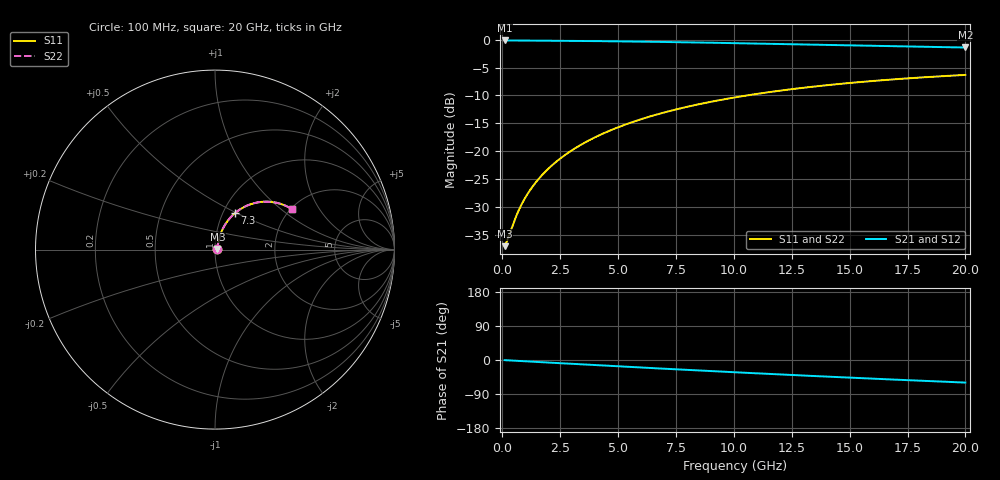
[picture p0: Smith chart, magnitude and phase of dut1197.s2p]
! Touchstone file exported from HFSS 2026.1.0
!  File:  C:/ffzhzh/LocalFiles/Ansys_Project_Files/temp_train_TMRDL_1197_1783162916_18472.aedt
!  Generated:  07:03:20 PM Jul  4, 2026
!  Design:  TMRDL
!  Project:  temp_train_TMRDL_1197_1783162916_18472
! Variables:
!  h_bsmrdl = 2um
!  h_ox = 20um
!  h_rdl = 5um
!  h_sub = 80um
!  h_tmrdl = 2.12um
!  h_tsv = 80um
!  h_via = 3um
!  l_bsmrdl = 300um
!  l_sub = 1364.79um
!  l_tmrdl = 964.79um
!  m_sub = 200um
!  pitch = 26.49um
!  r_tsv = 6um
!  s_tmrdl = 10um
!  w_bsmrdl = 18um
!  w_sub = 500um
!  w_tmrdl = 11.75um
!  x_tsv_center1 = 970.665um
!  x_tsv_center2 = 1288.665um
!  x_tsv_center3 = 2265.205um
!  x_tsv_center4 = 2583.205um
!  x_tsv_center5 = 3559.745um
!  x_tsv_center6 = 3877.745um
# GHz S MA R 50.000000
! Terminal data exported
! Port[1] = TM_RDL1_1_T1
! Port[2] = TM_RDL1_1_T2
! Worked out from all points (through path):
!   200 points, 100 MHz to 20 GHz, reference 50 ohm
!   highest |S21| = -0.12 dB at 100 MHz (marker M1); lowest = -1.4 dB at 20 GHz (marker M2)
!   group delay of S21, straight-line fit = 8.28 ps
!   lowest |S11| = -37.1 dB at 100 MHz (marker M3), VSWR 1.03, Z = 51.4 + j0.372 ohm
!   |S11| at or under -10 dB: start of sweep to 10.56 GHz
!   |S22| runs from -37.1 to -6.3 dB; largest |S21 - S12| = 5.3e-15
!   S11 on the Smith chart (normalised r, x): 100 MHz: 1.03, +0.01; 7.3 GHz: 1.14, +0.49; 20 GHz: 2.02, +1.19
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0.1  0.01398 15.0  0.9865 -0.4  0.9865 -0.4  0.01398 15.0
! Gamma 0 0 0 0
! Port Impedance 50 0 50 0
0.2  0.01546 27.8  0.9864 -0.7  0.9864 -0.7  0.01546 27.8
0.5  0.02304 50.3  0.9857 -1.8  0.9857 -1.8  0.02304 50.3
0.6  0.02601 54.2  0.9853 -2.1  0.9853 -2.1  0.02601 54.2
0.8  0.03214 59.6  0.9847 -2.8  0.9847 -2.8  0.03214 59.6
1.1  0.04149 64.3  0.9838 -3.8  0.9838 -3.8  0.04148 64.3
1.4  0.05089 66.9  0.9829 -4.8  0.9829 -4.8  0.05089 66.9
1.8  0.06349 68.9  0.9817 -6.1  0.9817 -6.1  0.06349 68.9
2.3  0.0793 70.0  0.9802 -7.8  0.9802 -7.8  0.0793 70.0
2.9  0.09828 70.2  0.9782 -9.8  0.9782 -9.8  0.09828 70.2
3.5  0.1172 69.7  0.9758 -11.7  0.9758 -11.7  0.1172 69.7
4.2  0.139 68.7  0.9727 -14.0  0.9727 -14.0  0.139 68.7
5  0.1636 67.1  0.9687 -16.6  0.9687 -16.6  0.1636 67.1
5.9  0.1906 65.0  0.9634 -19.5  0.9634 -19.5  0.1906 65.0
6.8  0.2168 62.7  0.9576 -22.4  0.9576 -22.4  0.2168 62.7
7.3  0.231 61.4  0.9542 -23.9  0.9542 -23.9  0.231 61.4
8.6  0.2666 57.8  0.9446 -28.0  0.9446 -28.0  0.2666 57.9
10.1  0.3049 53.7  0.9325 -32.5  0.9325 -32.5  0.305 53.8
11.7  0.3426 49.3  0.919 -37.3  0.919 -37.3  0.3426 49.4
13.4  0.3788 44.7  0.9045 -42.1  0.9045 -42.1  0.3788 44.8
16.7  0.438 36.1  0.877 -51.1  0.877 -51.1  0.438 36.2
20  0.4835 27.9  0.8528 -59.6  0.8528 -59.6  0.4835 28.0
